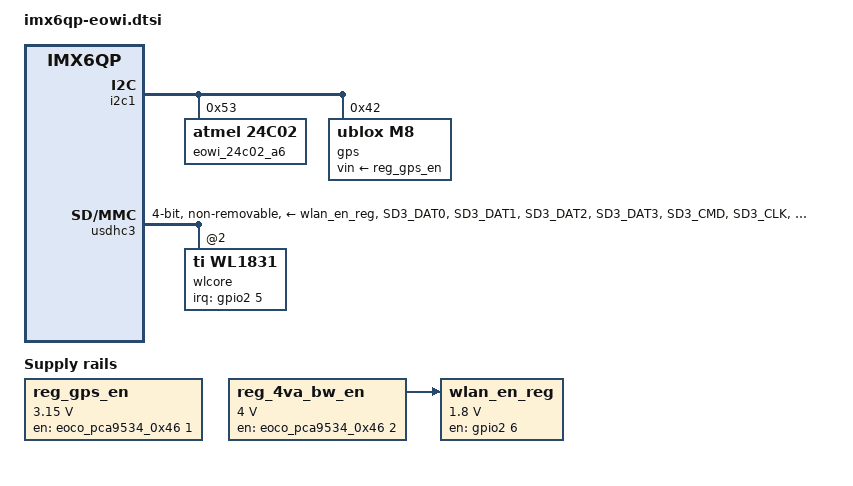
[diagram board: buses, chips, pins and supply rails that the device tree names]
/*
 * Copyright 2022 FLIR Systems.
 *
 * The code contained herein is licensed under the GNU General Public
 * License. You may obtain a copy of the GNU General Public License
 * Version 2 or later at the following locations:
 *
 * http://www.opensource.org/licenses/gpl-license.html
 * http://www.gnu.org/copyleft/gpl.html
 */

#include <dt-bindings/gpio/gpio.h>
#include <dt-bindings/interrupt-controller/irq.h>

/ {
	regulators {
		compatible = "simple-bus";

		reg_gps_en: reg_gps_en {
			//This regulator is on the EOCO board
			compatible = "regulator-fixed";
			regulator-name = "reg_gps_en";
			regulator-min-microvolt = <3150000>;
			regulator-max-microvolt = <3150000>;
			gpio = <&eoco_pca9534_0x46 1 GPIO_ACTIVE_HIGH>;
			enable-active-high;
		};

		reg_4va_bw_en: reg_4va_bw_en {
			//This regulator is on the EOCO board
			compatible = "regulator-fixed";
			regulator-name = "4VA_BW";
			regulator-min-microvolt = <4000000>;
			regulator-max-microvolt = <4000000>;
			gpio = <&eoco_pca9534_0x46 2 GPIO_ACTIVE_HIGH>;
			regulator-boot-on;
			startup-delay-us = <10000>;
			enable-active-high;
		};

		wlan_en_reg: wlan_en_reg {
			compatible = "regulator-fixed";
			regulator-name = "wlan-en";
			regulator-min-microvolt = <1800000>;
			regulator-max-microvolt = <1800000>;
			gpio = <&gpio2 6 GPIO_ACTIVE_HIGH>;
			regulator-boot-on;
			startup-delay-us = <70000>;
			enable-active-high;
			vin-supply = <&reg_4va_bw_en>;
		};
	};
};

/* EEPROM */
&i2c1 {
	eowi_24c02_a6: eowi_24c02_a6@53 {
		compatible = "atmel,24c02";
		reg = <0x53>;
		pagesize = <16>;
	};

	gps:eowi_gps@42 {
		compatible = "ublox,m8";
		status = "okay";
		reg = <0x42>;
			interrupt-pin = <&gpio7 12 GPIO_ACTIVE_HIGH>;
			vin-supply = <&reg_gps_en>;
	};
};

/* Wi-Fi */
&usdhc3 {
	pinctrl-names = "default", "sleep";
	pinctrl-0 = <&pinctrl_usdhc3>;
	pinctrl-1 = <&pinctrl_usdhc3_sleep>;
	vmmc-supply = <&wlan_en_reg>;
	bus-width = <4>;
	non-removable;
	no-1-8-v;
	keep-power-in-suspend;
	cap-power-off-card;
	max-frequency = <25000000>;
	status = "okay";
	#address-cells = <1>;
	#size-cells = <0>;

	wlcore: wlcore@3 {
		compatible = "ti,wl1831";
		reg = <2>;
		interrupt-parent = <&gpio2>;
		interrupts = <5 IRQ_TYPE_LEVEL_HIGH>;

		platform-quirks = <1>;
		tcxo-clock-frequency = <26000000>;
		ref-clock-frequency = <26000000>;
	};
};

/* Bluetooth */
&uart3 {
	pinctrl-names = "default", "sleep";
	pinctrl-0 = <&pinctrl_uart3>;
	pinctrl-1 = <&pinctrl_uart3_sleep>;
	uart-has-rtscts;
	status = "disabled";
	dma-names = "rx","";

	bluetooth {
		compatible = "ti,wl1837-st";
		max-speed = <3000000>;
		enable-gpios = <&gpio2 4 GPIO_ACTIVE_HIGH>;
	};
};

/* Iomux */
&iomuxc {
	imx6qp-eowi {
		pinctrl_usdhc3: usdhc3grp {
			fsl,pins = <
				/* Use 22 kohm pull up on SD signals */
				MX6QDL_PAD_SD3_DAT0__SD3_DATA0		0x1f020
				MX6QDL_PAD_SD3_DAT1__SD3_DATA1		0x1f020
				MX6QDL_PAD_SD3_DAT2__SD3_DATA2		0x1f020
				MX6QDL_PAD_SD3_DAT3__SD3_DATA3		0x1f020
				MX6QDL_PAD_SD3_CMD__SD3_CMD		    0x1f020
				MX6QDL_PAD_SD3_CLK__SD3_CLK		    0x10020
                /* WLAN_EN pin */
				MX6QDL_PAD_NANDF_D6__GPIO2_IO06		0x10
                /* WLAN_IRQ pin */
				MX6QDL_PAD_NANDF_D5__GPIO2_IO05	 0x1f010	
			>;
		};

		pinctrl_usdhc3_sleep: usdhc3grpsleep {
			fsl,pins = <
				// 100 kOhm pull down GPIO input
				MX6QDL_PAD_SD3_CMD__GPIO7_IO02		0x3010
				MX6QDL_PAD_SD3_CLK__GPIO7_IO03		0x3010
				MX6QDL_PAD_SD3_DAT0__GPIO7_IO04		0x3010
				MX6QDL_PAD_SD3_DAT1__GPIO7_IO05		0x3010
				MX6QDL_PAD_SD3_DAT2__GPIO7_IO06		0x3010
				MX6QDL_PAD_SD3_DAT3__GPIO7_IO07		0x3010
                /* WLAN_IRQ pin */
				MX6QDL_PAD_NANDF_D5__GPIO2_IO05		0x3010
			>;
		};

		pinctrl_uart3: uart3grp {
			fsl,pins = <
				MX6QDL_PAD_EIM_D24__UART3_TX_DATA	0x1b0b1
				MX6QDL_PAD_EIM_D25__UART3_RX_DATA	0x1b0b1
				MX6QDL_PAD_EIM_D30__UART3_CTS_B		0x1b0b1
				MX6QDL_PAD_EIM_D31__UART3_RTS_B		0x1b0b1
                /* BT_EN pin */
				MX6QDL_PAD_NANDF_D4__GPIO2_IO04		0x10 
			>;
		};

		pinctrl_uart3_sleep: uart3grpsleep {
			fsl,pins = <
				// 100 kOhm pull down GPIO input
				MX6QDL_PAD_EIM_D24__GPIO3_IO24		0x3010
				MX6QDL_PAD_EIM_D25__GPIO3_IO25		0x3010
				MX6QDL_PAD_EIM_D30__GPIO3_IO30		0x3010
				MX6QDL_PAD_EIM_D31__GPIO3_IO31		0x3010
			>;
		};
	};
};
